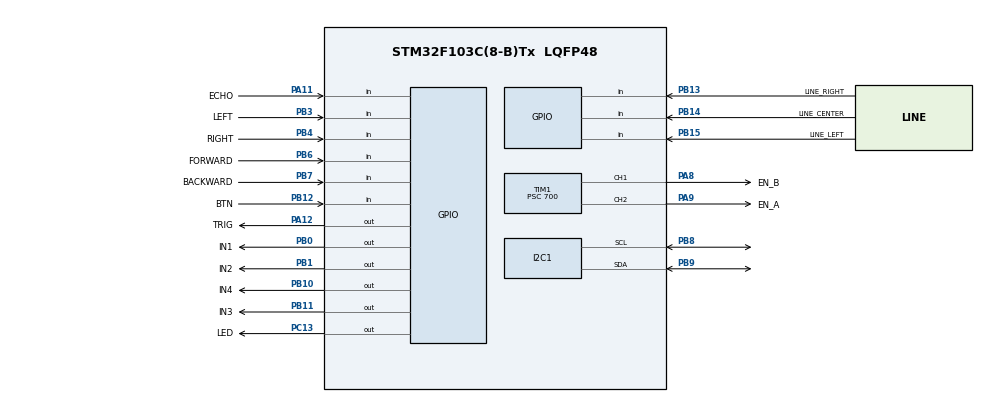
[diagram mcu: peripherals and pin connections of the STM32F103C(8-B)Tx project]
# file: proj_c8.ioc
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Mcu.Family=STM32F1
Mcu.Name=STM32F103C(8-B)Tx
Mcu.Package=LQFP48
NVIC.PriorityGroup=NVIC_PRIORITYGROUP_4
PA11.GPIO_Label=ECHO
PA11.Signal=GPIO_Input
PA12.GPIO_Label=TRIG
PA12.Signal=GPIO_Output
PA8.GPIO_Label=EN_B
PA8.Signal=S_TIM1_CH1
PA9.GPIO_Label=EN_A
PA9.Signal=S_TIM1_CH2
PB0.GPIO_Label=IN1
PB0.Signal=GPIO_Output
PB1.GPIO_Label=IN2
PB1.Signal=GPIO_Output
PB10.GPIO_Label=IN4
PB10.Signal=GPIO_Output
PB11.GPIO_Label=IN3
PB11.Signal=GPIO_Output
PB12.GPIO_Label=BTN
PB12.GPIO_PuPd=GPIO_PULLDOWN
PB12.Signal=GPIO_Input
PB13.GPIO_Label=LINE_RIGHT
PB13.Signal=GPIO_Input
PB14.GPIO_Label=LINE_CENTER
PB14.Signal=GPIO_Input
PB15.GPIO_Label=LINE_LEFT
PB15.Signal=GPIO_Input
PB3.GPIO_Label=LEFT
PB3.GPIO_PuPd=GPIO_NOPULL
PB3.Signal=GPIO_Input
PB4.GPIO_Label=RIGHT
PB4.GPIO_PuPd=GPIO_NOPULL
PB4.Signal=GPIO_Input
PB6.GPIO_Label=FORWARD
PB6.GPIO_PuPd=GPIO_NOPULL
PB6.Signal=GPIO_Input
PB7.GPIO_Label=BACKWARD
PB7.GPIO_PuPd=GPIO_NOPULL
PB7.Signal=GPIO_Input
PB8.Mode=I2C
PB8.Signal=I2C1_SCL
PB9.Mode=I2C
PB9.Signal=I2C1_SDA
PC13-TAMPER-RTC.GPIO_Label=LED
PC13-TAMPER-RTC.Signal=GPIO_Output
ProjectManager.HeapSize=0x200
ProjectManager.StackSize=0x400
ProjectManager.TargetToolchain=STM32CubeIDE
RCC.APB1Freq_Value=8000000
RCC.APB2Freq_Value=8000000
SH.S_TIM1_CH1.0=TIM1_CH1,PWM Generation1 CH1
SH.S_TIM1_CH2.0=TIM1_CH2,PWM Generation2 CH2
TIM1.Channel-PWM\ Generation1\ CH1=TIM_CHANNEL_1
TIM1.Channel-PWM\ Generation2\ CH2=TIM_CHANNEL_2
TIM1.Period=99
TIM1.Prescaler=700
VP_SYS_VS_ND.Mode=No_Debug
board=custom

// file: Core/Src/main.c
/* USER CODE BEGIN Header */
/**
 ******************************************************************************
 * @file           : main.c
 * @brief          : Main program body
 ******************************************************************************
 * @attention
 *
 * Copyright (c) 2025 STMicroelectronics.
 * All rights reserved.
 *
 * This software is licensed under terms that can be found in the LICENSE file
 * in the root directory of this software component.
 * If no LICENSE file comes with this software, it is provided AS-IS.
 *
 ******************************************************************************
 */
/* USER CODE END Header */
#include "main.h"

/* USER CODE BEGIN Includes */
#include <stdbool.h>
#include <stdio.h>
#include "ssd1306.h"
#include "ssd1306_fonts.h"
#include <string.h>
#include "dwt_delay.h"
/* USER CODE END Includes */

/* USER CODE BEGIN PD */
#define BASE_SPEED 50 // prędkośc bazowa PWM (0-99)

static const uint8_t LOW = 0;
static const uint8_t HIGH = 1;
/* USER CODE END PD */

I2C_HandleTypeDef hi2c1;

TIM_HandleTypeDef htim1;

void SystemClock_Config(void);
static void MX_GPIO_Init(void);
static void MX_TIM1_Init(void);
static void MX_I2C1_Init(void);

/* USER CODE BEGIN 0 */
static int currentSpeed = BASE_SPEED;
static uint32_t last_update_time = 0;

void setSpeed(int speed1, int speed2)
{
  __HAL_TIM_SET_COMPARE(&htim1, TIM_CHANNEL_1, speed1);
  __HAL_TIM_SET_COMPARE(&htim1, TIM_CHANNEL_2, speed2);
}

void setDirections(GPIO_PinState in1, GPIO_PinState in2, GPIO_PinState in3, GPIO_PinState in4)
{
  HAL_GPIO_WritePin(IN1_GPIO_Port, IN1_Pin, in1);
  HAL_GPIO_WritePin(IN2_GPIO_Port, IN2_Pin, in2);
  HAL_GPIO_WritePin(IN3_GPIO_Port, IN3_Pin, in3);
  HAL_GPIO_WritePin(IN4_GPIO_Port, IN4_Pin, in4);
}

void stop()
{
  setSpeed(0, 0);
  setDirections(false, false, false, false);
}

void resetDirection()
{
  stop();         // reset silników
  HAL_Delay(150); // odczekanie
}

void turnLeft()
{
  setSpeed(BASE_SPEED + 25, BASE_SPEED + 25);
  // lewy silnik do tyłu
  // prawy silnik do przodu
  setDirections(LOW, HIGH, HIGH, LOW);
}

void turnRight()
{
  setSpeed(BASE_SPEED + 25, BASE_SPEED + 25);
  // lewy silnik do przodu
  // prawy silnik do tyłu
  setDirections(HIGH, LOW, LOW, HIGH);
}

void goForward()
{
  setSpeed(currentSpeed, currentSpeed);
  setDirections(HIGH, LOW, HIGH, LOW);
}

void goBackward()
{
  setSpeed(currentSpeed, currentSpeed);
  setDirections(LOW, HIGH, LOW, HIGH);
}

float read_distance_cm()
{
  uint32_t startTick, endTick, pulseDuration;
  float distance;

  HAL_GPIO_WritePin(TRIG_GPIO_Port, TRIG_Pin, LOW);
  DWT_Delay(2);
  HAL_GPIO_WritePin(TRIG_GPIO_Port, TRIG_Pin, HIGH);
  DWT_Delay(10);
  HAL_GPIO_WritePin(TRIG_GPIO_Port, TRIG_Pin, LOW);

  // Wait for Echo to go HIGH
  while (HAL_GPIO_ReadPin(ECHO_GPIO_Port, ECHO_Pin) == LOW)
    ;
  startTick = DWT->CYCCNT;

  // Wait for Echo to go LOW
  while (HAL_GPIO_ReadPin(ECHO_GPIO_Port, ECHO_Pin) == HIGH)
    ;
  endTick = DWT->CYCCNT;

  uint32_t cpu_freq = HAL_RCC_GetHCLKFreq();
  pulseDuration = (float)(endTick - startTick) / (cpu_freq / 1000000.0f);

  // distance in cm
  distance = pulseDuration * 0.0343f / 2.0f;

  return distance;
}

bool shouldGoLeft()
{
  return HAL_GPIO_ReadPin(LEFT_GPIO_Port, LEFT_Pin) == HIGH;
}

bool shouldGoRight()
{
  return HAL_GPIO_ReadPin(RIGHT_GPIO_Port, RIGHT_Pin) == HIGH;
}

bool shouldGoForward()
{
  return HAL_GPIO_ReadPin(FORWARD_GPIO_Port, FORWARD_Pin) == HIGH;
}

bool shouldGoBackward()
{
  return HAL_GPIO_ReadPin(BACKWARD_GPIO_Port, BACKWARD_Pin) == HIGH;
}

void displayWriteMode(bool autoMode)
{
  char str[13];
  snprintf(str, sizeof(str), "Tryb: %s", autoMode ? "auto" : "manual");
  ssd1306_FillRectangle(0, 21, 128, 28, Black);
  ssd1306_SetCursor(0, 21);
  ssd1306_WriteString(str, Font_7x10, White);
  ssd1306_UpdateScreen();
}

typedef enum
{
  STOP = 0,
  RIGHT = 1,
  LEFT = 2,
  FORWARD = 3,
  BACKWARD = 4
} Direction;
/**
 * 1- w prawo
 * 2- w lewo
 * 3- do przodu
 * 4- do tylu
 * 0 - stop
 */
void displayWriteDir(Direction dirNum)
{
  char str[17];
  char dir[10];
  switch (dirNum)
  {
  case RIGHT:
    strcpy(dir, "Prawo");
    break;
  case LEFT:
    strcpy(dir, "Lewo");
    break;
  case FORWARD:
    strcpy(dir, "Wprost");
    break;
  case BACKWARD:
    strcpy(dir, "Tylem");
    break;
  default:
    strcpy(dir, "STOP");
    break;
  }
  snprintf(str, sizeof(str), "Dir:%s", dir);
  ssd1306_FillRectangle(0, 0, 70, 10, Black);
  ssd1306_SetCursor(0, 0);
  ssd1306_WriteString(str, Font_7x10, White);
  ssd1306_UpdateScreen();
}

void displayWriteDistance(float distance)
{
  char str[20];
  int int_part = (int)distance;
  int decimal_part = (int)((distance - int_part) * 10);
  snprintf(str, sizeof(str), "Dst:%d.%01d cm", int_part, decimal_part);
  ssd1306_FillRectangle(75, 0, 128, 10, Black);
  ssd1306_SetCursor(75, 0);
  ssd1306_WriteString(str, Font_6x8, White);
  ssd1306_UpdateScreen();
}
/**
 * Zmienia stan wbudowanego LED `state` na płytce
 */
void toggleBoardLed(bool state)
{
  HAL_GPIO_WritePin(LED_GPIO_Port, LED_Pin, !state);
}

uint8_t leftOnLine, centerOnLine, rightOnLine;

/** Aktualizuje zmienne o wartości czy czujnik wykrył linię */
void readLineSensors()
{
  leftOnLine = HAL_GPIO_ReadPin(LINE_LEFT_GPIO_Port, LINE_LEFT_Pin) == HIGH;
  centerOnLine = HAL_GPIO_ReadPin(LINE_CENTER_GPIO_Port, LINE_CENTER_Pin) == HIGH;
  rightOnLine = HAL_GPIO_ReadPin(LINE_RIGHT_GPIO_Port, LINE_RIGHT_Pin) == HIGH;
}

static Direction lastMove = FORWARD;

void runAutoMode()
{
  readLineSensors();

  if (centerOnLine)
  {
    goForward();
    lastMove = FORWARD;
    displayWriteDir(FORWARD);
  }
  else if (leftOnLine)
  {
    turnLeft();
    lastMove = LEFT;
    displayWriteDir(LEFT);
  }
  else if (rightOnLine)
  {
    turnRight();
    lastMove = RIGHT;
    displayWriteDir(RIGHT);
  }
  else
  {
    switch (lastMove)
    {
    case 1:
      turnRight();
      break;
    case 2:
      turnLeft();
      break;
    case 3:
      goForward();
      break;

    default:
      break;
    }
    displayWriteDir(lastMove);
  }
}

bool handleDistance()
{
  uint32_t current_time = HAL_GetTick();

  bool obstacleDetected = false;
  // aktualizacja wyświetlacza co 0.45s o dane z sensora odległości
  if ((current_time - last_update_time) >= 450)
  {
    last_update_time = current_time;
    float dist = read_distance_cm();
    displayWriteDistance(dist);
    obstacleDetected = (dist <= 50);
  }

  return obstacleDetected;
}

/* USER CODE END 0 */

int main(void)
{

  /* MCU Configuration--------------------------------------------------------*/

  /* Reset of all peripherals, Initializes the Flash interface and the Systick. */
  HAL_Init();

  /* Configure the system clock */
  SystemClock_Config();

  /* Initialize all configured peripherals */
  MX_GPIO_Init();
  MX_TIM1_Init();
  MX_I2C1_Init();
  /* USER CODE BEGIN 2 */
  __HAL_AFIO_REMAP_SWJ_NOJTAG();
  __HAL_AFIO_REMAP_I2C1_ENABLE();
  HAL_TIM_PWM_Start(&htim1, TIM_CHANNEL_1); // Sterownik port "EN_A"
  HAL_TIM_PWM_Start(&htim1, TIM_CHANNEL_2); // Sterownik port "EN_B"
  toggleBoardLed(false);
  ssd1306_Init();

  displayWriteMode(false);

  /* USER CODE END 2 */

  /* Infinite loop */
  /* USER CODE BEGIN WHILE */
  bool prevForward = false;
  bool prevBackward = false;
  bool prevLeft = false;
  bool prevRight = false;

  uint8_t buttonPrevState = 0;
  uint8_t autoMode = 0;

  DWT_Init();

  bool obstacleDetected = false;

  while (1)
  {
    uint8_t button_current = HAL_GPIO_ReadPin(BTN_GPIO_Port, BTN_Pin);

    if (buttonPrevState == 0 && button_current == 1)
    {
      autoMode = !autoMode;
      displayWriteMode(autoMode);
    }

    buttonPrevState = button_current;

    bool currentForward = shouldGoForward();

    obstacleDetected = handleDistance();

    if (autoMode)
    {
      currentSpeed = BASE_SPEED;
      runAutoMode();

      char str[16];
      snprintf(str, sizeof(str), "L%d C%d R%d", leftOnLine, centerOnLine, rightOnLine);
      ssd1306_FillRectangle(90, 21, 128, 28, Black);
      ssd1306_SetCursor(80, 21);
      ssd1306_WriteString(str, Font_6x8, White);
      ssd1306_UpdateScreen();

      HAL_Delay(50);
      stop();
      HAL_Delay(100);
      continue;
    }
    currentSpeed = 65;

    bool currentBackward = shouldGoBackward();
    bool currentLeft = shouldGoLeft();
    bool currentRight = shouldGoRight();
    if (
        currentForward || currentBackward || currentLeft || currentRight)
    {
      toggleBoardLed(true);
    }

    if (currentForward)
    {
      goForward();
      if (!prevForward)
      {
        displayWriteDir(1);
      }
    }
    else if (currentBackward)
    {
      goBackward();
      if (!prevBackward)
      {
        displayWriteDir(2);
      }
    }
    else if (currentLeft && !obstacleDetected)
    {
      turnLeft();
      if (!prevLeft)
      {
        displayWriteDir(3);
      }
    }
    else if (currentRight)
    {
      turnRight();
      if (!prevRight)
      {
        displayWriteDir(4);
      }
    }
    else
    {
      toggleBoardLed(false);
      resetDirection();

      if (prevBackward || prevForward || prevLeft || prevRight)
      {
        displayWriteDir(0);
      }
    }

    // if (currentLeft || currentRight || currentForward || currentBackward) {
    //   HAL_Delay(150);
    // }

    prevForward = currentForward;
    prevBackward = currentBackward;
    prevLeft = currentLeft;
    prevRight = currentRight;

    /* USER CODE END WHILE */

  }
}

void SystemClock_Config(void)
{
  RCC_OscInitTypeDef RCC_OscInitStruct = {0};
  RCC_ClkInitTypeDef RCC_ClkInitStruct = {0};

  /** Initializes the RCC Oscillators according to the specified parameters
   * in the RCC_OscInitTypeDef structure.
   */
  RCC_OscInitStruct.OscillatorType = RCC_OSCILLATORTYPE_HSI;
  RCC_OscInitStruct.HSIState = RCC_HSI_ON;
  RCC_OscInitStruct.HSICalibrationValue = RCC_HSICALIBRATION_DEFAULT;
  RCC_OscInitStruct.PLL.PLLState = RCC_PLL_NONE;
  if (HAL_RCC_OscConfig(&RCC_OscInitStruct) != HAL_OK)
  {
    Error_Handler();
  }

  /** Initializes the CPU, AHB and APB buses clocks
   */
  RCC_ClkInitStruct.ClockType = RCC_CLOCKTYPE_HCLK | RCC_CLOCKTYPE_SYSCLK | RCC_CLOCKTYPE_PCLK1 | RCC_CLOCKTYPE_PCLK2;
  RCC_ClkInitStruct.SYSCLKSource = RCC_SYSCLKSOURCE_HSI;
  RCC_ClkInitStruct.AHBCLKDivider = RCC_SYSCLK_DIV1;
  RCC_ClkInitStruct.APB1CLKDivider = RCC_HCLK_DIV1;
  RCC_ClkInitStruct.APB2CLKDivider = RCC_HCLK_DIV1;

  if (HAL_RCC_ClockConfig(&RCC_ClkInitStruct, FLASH_LATENCY_0) != HAL_OK)
  {
    Error_Handler();
  }
}

static void MX_I2C1_Init(void)
{

  hi2c1.Instance = I2C1;
  hi2c1.Init.ClockSpeed = 100000;
  hi2c1.Init.DutyCycle = I2C_DUTYCYCLE_2;
  hi2c1.Init.OwnAddress1 = 0;
  hi2c1.Init.AddressingMode = I2C_ADDRESSINGMODE_7BIT;
  hi2c1.Init.DualAddressMode = I2C_DUALADDRESS_DISABLE;
  hi2c1.Init.OwnAddress2 = 0;
  hi2c1.Init.GeneralCallMode = I2C_GENERALCALL_DISABLE;
  hi2c1.Init.NoStretchMode = I2C_NOSTRETCH_DISABLE;
  if (HAL_I2C_Init(&hi2c1) != HAL_OK)
  {
    Error_Handler();
  }
}

static void MX_TIM1_Init(void)
{

  TIM_MasterConfigTypeDef sMasterConfig = {0};
  TIM_OC_InitTypeDef sConfigOC = {0};
  TIM_BreakDeadTimeConfigTypeDef sBreakDeadTimeConfig = {0};

  htim1.Instance = TIM1;
  htim1.Init.Prescaler = 700;
  htim1.Init.CounterMode = TIM_COUNTERMODE_UP;
  htim1.Init.Period = 99;
  htim1.Init.ClockDivision = TIM_CLOCKDIVISION_DIV1;
  htim1.Init.RepetitionCounter = 0;
  htim1.Init.AutoReloadPreload = TIM_AUTORELOAD_PRELOAD_DISABLE;
  if (HAL_TIM_PWM_Init(&htim1) != HAL_OK)
  {
    Error_Handler();
  }
  sMasterConfig.MasterOutputTrigger = TIM_TRGO_RESET;
  sMasterConfig.MasterSlaveMode = TIM_MASTERSLAVEMODE_DISABLE;
  if (HAL_TIMEx_MasterConfigSynchronization(&htim1, &sMasterConfig) != HAL_OK)
  {
    Error_Handler();
  }
  sConfigOC.OCMode = TIM_OCMODE_PWM1;
  sConfigOC.Pulse = 0;
  sConfigOC.OCPolarity = TIM_OCPOLARITY_HIGH;
  sConfigOC.OCNPolarity = TIM_OCNPOLARITY_HIGH;
  sConfigOC.OCFastMode = TIM_OCFAST_DISABLE;
  sConfigOC.OCIdleState = TIM_OCIDLESTATE_RESET;
  sConfigOC.OCNIdleState = TIM_OCNIDLESTATE_RESET;
  if (HAL_TIM_PWM_ConfigChannel(&htim1, &sConfigOC, TIM_CHANNEL_1) != HAL_OK)
  {
    Error_Handler();
  }
  if (HAL_TIM_PWM_ConfigChannel(&htim1, &sConfigOC, TIM_CHANNEL_2) != HAL_OK)
  {
    Error_Handler();
  }
  sBreakDeadTimeConfig.OffStateRunMode = TIM_OSSR_DISABLE;
  sBreakDeadTimeConfig.OffStateIDLEMode = TIM_OSSI_DISABLE;
  sBreakDeadTimeConfig.LockLevel = TIM_LOCKLEVEL_OFF;
  sBreakDeadTimeConfig.DeadTime = 0;
  sBreakDeadTimeConfig.BreakState = TIM_BREAK_DISABLE;
  sBreakDeadTimeConfig.BreakPolarity = TIM_BREAKPOLARITY_HIGH;
  sBreakDeadTimeConfig.AutomaticOutput = TIM_AUTOMATICOUTPUT_DISABLE;
  if (HAL_TIMEx_ConfigBreakDeadTime(&htim1, &sBreakDeadTimeConfig) != HAL_OK)
  {
    Error_Handler();
  }
  HAL_TIM_MspPostInit(&htim1);
}

static void MX_GPIO_Init(void)
{
  GPIO_InitTypeDef GPIO_InitStruct = {0};

  /* GPIO Ports Clock Enable */
  __HAL_RCC_GPIOC_CLK_ENABLE();
  __HAL_RCC_GPIOB_CLK_ENABLE();
  __HAL_RCC_GPIOA_CLK_ENABLE();

  /*Configure GPIO pin Output Level */
  HAL_GPIO_WritePin(LED_GPIO_Port, LED_Pin, GPIO_PIN_RESET);

  /*Configure GPIO pin Output Level */
  HAL_GPIO_WritePin(GPIOB, IN1_Pin | IN2_Pin | IN4_Pin | IN3_Pin, GPIO_PIN_RESET);

  /*Configure GPIO pin Output Level */
  HAL_GPIO_WritePin(TRIG_GPIO_Port, TRIG_Pin, GPIO_PIN_RESET);

  /*Configure GPIO pin : LED_Pin */
  GPIO_InitStruct.Pin = LED_Pin;
  GPIO_InitStruct.Mode = GPIO_MODE_OUTPUT_PP;
  GPIO_InitStruct.Pull = GPIO_NOPULL;
  GPIO_InitStruct.Speed = GPIO_SPEED_FREQ_LOW;
  HAL_GPIO_Init(LED_GPIO_Port, &GPIO_InitStruct);

  /*Configure GPIO pins : IN1_Pin IN2_Pin IN4_Pin IN3_Pin */
  GPIO_InitStruct.Pin = IN1_Pin | IN2_Pin | IN4_Pin | IN3_Pin;
  GPIO_InitStruct.Mode = GPIO_MODE_OUTPUT_PP;
  GPIO_InitStruct.Pull = GPIO_NOPULL;
  GPIO_InitStruct.Speed = GPIO_SPEED_FREQ_LOW;
  HAL_GPIO_Init(GPIOB, &GPIO_InitStruct);

  /*Configure GPIO pin : BTN_Pin */
  GPIO_InitStruct.Pin = BTN_Pin;
  GPIO_InitStruct.Mode = GPIO_MODE_INPUT;
  GPIO_InitStruct.Pull = GPIO_PULLDOWN;
  HAL_GPIO_Init(BTN_GPIO_Port, &GPIO_InitStruct);

  /*Configure GPIO pins : LINE_RIGHT_Pin LINE_CENTER_Pin LINE_LEFT_Pin LEFT_Pin
                           RIGHT_Pin FORWARD_Pin BACKWARD_Pin */
  GPIO_InitStruct.Pin = LINE_RIGHT_Pin | LINE_CENTER_Pin | LINE_LEFT_Pin | LEFT_Pin | RIGHT_Pin | FORWARD_Pin | BACKWARD_Pin;
  GPIO_InitStruct.Mode = GPIO_MODE_INPUT;
  GPIO_InitStruct.Pull = GPIO_NOPULL;
  HAL_GPIO_Init(GPIOB, &GPIO_InitStruct);

  /*Configure GPIO pin : ECHO_Pin */
  GPIO_InitStruct.Pin = ECHO_Pin;
  GPIO_InitStruct.Mode = GPIO_MODE_INPUT;
  GPIO_InitStruct.Pull = GPIO_NOPULL;
  HAL_GPIO_Init(ECHO_GPIO_Port, &GPIO_InitStruct);

  /*Configure GPIO pin : TRIG_Pin */
  GPIO_InitStruct.Pin = TRIG_Pin;
  GPIO_InitStruct.Mode = GPIO_MODE_OUTPUT_PP;
  GPIO_InitStruct.Pull = GPIO_NOPULL;
  GPIO_InitStruct.Speed = GPIO_SPEED_FREQ_LOW;
  HAL_GPIO_Init(TRIG_GPIO_Port, &GPIO_InitStruct);

}

void Error_Handler(void)
{
  __disable_irq();
  while (1)
  {
  }
}
